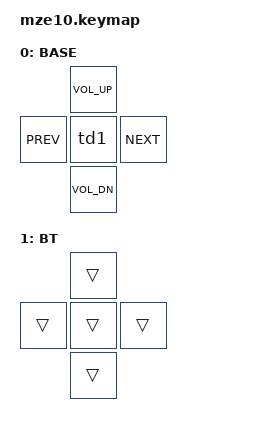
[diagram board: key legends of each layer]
/*
 * Copyright (c) 2020 The ZMK Contributors
 *
 * SPDX-License-Identifier: MIT
 */

 #include <behaviors.dtsi>
 #include <dt-bindings/zmk/keys.h>
 #include <dt-bindings/zmk/bt.h>
 #include <dt-bindings/zmk/outputs.h>
 #include <behaviors/rgbled_widget.dtsi> 

 #define BASE 0
 #define BT   1

 
 &mt {
   quick-tap-ms = <100>;
   global-quick-tap;
   flavor = "tap-preferred";
   tapping-term-ms = <300>;
 };
 
 / {
    behaviors {
        td0: tap_dance_0 {
            compatible = "zmk,behavior-tap-dance";
            label = "TAP_DANCE_0";
            #binding-cells = <0>;
            tapping-term-ms = <300>;
            bindings = <&bt BT_SEL 0>, <&bt BT_SEL 1>, <&bt BT_SEL 2>;
        };
        td1: tap_dance_1 {
            compatible = "zmk,behavior-tap-dance";
            label = "TAP_DANCE_1";
            #binding-cells = <0>;
            tapping-term-ms = <300>;
            bindings = <&kp C_PLAY_PAUSE>, <&sys_reset>, <&bootloader>;
        };
    };
    combos {
        compatible = "zmk,combos";
        combo_soft_off {
            timeout-ms = <50>;
            key-positions = <0 1 2>;
            bindings = <&sys_reset>;
        };
    };
     keymap {
                 compatible = "zmk,keymap";
 
 // ▄▄▄▄▄▄▄▄▄▄▄▄▄▄▄▄▄▄▄▄▄▄▄▄▄▄▄▄▄▄▄▄▄▄▄▄▄▄▄▄▄
                 base_layer {
 // ┏━━━━━━━━━━━━━━━━━━━━━━━━━━━━━━━━━━━━━━━┓
                 label= "BASE"              ;
 // ┗━━━━━━━━━━━━━━━━━━━━━━━━━━━━━━━━━━━━━━━┛
 //              ┏━━━━━━━━━━━━┓
 //              ┃   Vol Up   ┃
 //┏━━━━━━━━━━━━━┣━━━━━━━━━━━━┫━━━━━━━━━━━━━┓
 //┃  Previous   ┃ Multi-Play ┃    Next     ┃
 //┗━━━━━━━━━━━━━┣━━━━━━━━━━━━┫━━━━━━━━━━━━━┛
 //              ┃  Vol Down  ┃ 
 //              ┗━━━━━━━━━━━━┛
 //
  bindings = <
 //
                &kp C_VOL_UP
    &kp C_PREV  &td1         &kp C_NEXT
                &kp C_VOL_DN
         >;
                 };
 
 // ▄▄▄▄▄▄▄▄▄▄▄▄▄▄▄▄▄▄▄▄▄▄▄▄▄▄▄▄▄▄▄▄▄▄▄▄▄▄▄▄▄
 
                 bt_layer {
 // ┏━━━━━━━━━━━━━━━━━━━━━━━━━━━━━━━━━━━━━━━┓
                 label= "BT"               ;
 // ┗━━━━━━━━━━━━━━━━━━━━━━━━━━━━━━━━━━━━━━━┛
 //              ┏━━━━━━━━━━━━┓
 //              ┃            ┃
 //┏━━━━━━━━━━━━━┣━━━━━━━━━━━━┫━━━━━━━━━━━━━┓
 //┃             ┃            ┃             ┃
 //┗━━━━━━━━━━━━━┣━━━━━━━━━━━━┫━━━━━━━━━━━━━┛
 //              ┃            ┃ 
 //              ┗━━━━━━━━━━━━┛
//
  bindings = <
 //
                &trans
    &trans      &trans      &trans
                &trans   
         >;
                 };
         };
 };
